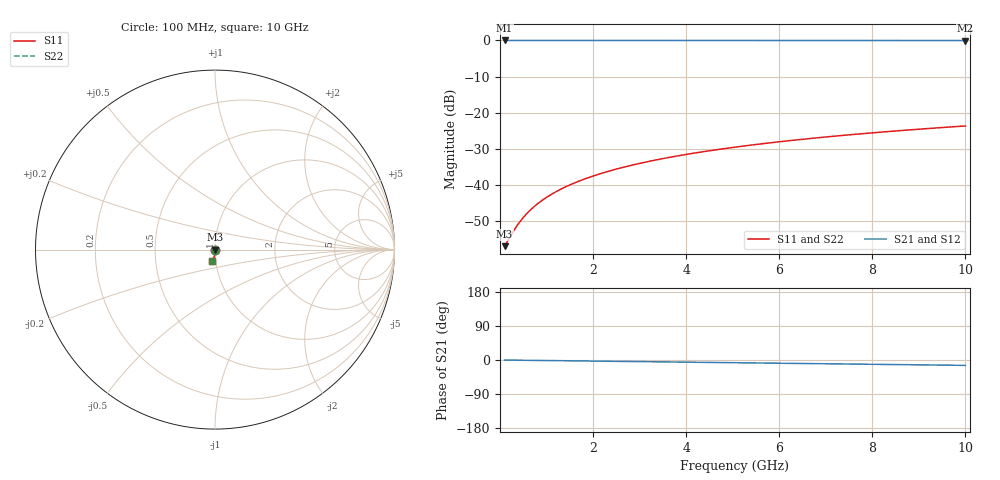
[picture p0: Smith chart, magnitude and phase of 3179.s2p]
# Hz S RI R 50.00
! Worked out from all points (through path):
!   100 points, 100 MHz to 10 GHz, reference 50 ohm
!   highest |S21| = -0.01 dB at 100 MHz (marker M1); lowest = 0.0 dB at 10 GHz (marker M2)
!   group delay of S21, straight-line fit = 3.94 ps
!   lowest |S11| = -57.0 dB at 100 MHz (marker M3), VSWR 1.00, Z = 50.1 - j0.0665 ohm
!   |S11| at or under -10 dB: start of sweep to end of sweep
!   |S22| runs from -57.0 to -23.7 dB; largest |S21 - S12| = 0
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1e8  0.00126 -0.000663  0.9987 -0.00247  0.9987 -0.00247  0.00126 -0.000663
3e8  0.00125 -0.00199  0.9987 -0.00742  0.9987 -0.00742  0.00125 -0.00199
4e8  0.00125 -0.00265  0.9987 -0.00989  0.9987 -0.00989  0.00125 -0.00265
5e8  0.00123 -0.00332  0.9986 -0.0124  0.9986 -0.0124  0.00123 -0.00332
6e8  0.00122 -0.00398  0.9986 -0.0148  0.9986 -0.0148  0.00122 -0.00398
7e8  0.0012 -0.00464  0.9985 -0.0173  0.9985 -0.0173  0.0012 -0.00464
8e8  0.00118 -0.00531  0.9985 -0.0198  0.9985 -0.0198  0.00118 -0.00531
9e8  0.00115 -0.00597  0.9984 -0.0223  0.9984 -0.0223  0.00115 -0.00597
1e9  0.00112 -0.00663  0.9984 -0.0247  0.9984 -0.0247  0.00112 -0.00663
1.2e9  0.00105 -0.00796  0.9982 -0.0297  0.9982 -0.0297  0.00105 -0.00796
1.5e9  0.000921 -0.00994  0.9979 -0.0371  0.9979 -0.0371  0.000921 -0.00994
1.8e9  0.000761 -0.0119  0.9976 -0.0445  0.9976 -0.0445  0.000761 -0.0119
2.1e9  0.000571 -0.0139  0.9972 -0.0519  0.9972 -0.0519  0.000571 -0.0139
2.5e9  0.000271 -0.0166  0.9966 -0.0618  0.9966 -0.0618  0.000271 -0.0166
2.9e9  -8.07e-05 -0.0192  0.9959 -0.0716  0.9959 -0.0716  -8.07e-05 -0.0192
3.4e9  -0.000594 -0.0225  0.9948 -0.084  0.9948 -0.084  -0.000594 -0.0225
4.2e9  -0.00158 -0.0277  0.9928 -0.1036  0.9928 -0.1036  -0.00158 -0.0277
5.1e9  -0.00295 -0.0335  0.99 -0.1257  0.99 -0.1257  -0.00295 -0.0335
5.9e9  -0.00437 -0.0386  0.9871 -0.1453  0.9871 -0.1453  -0.00437 -0.0386
6.7e9  -0.006 -0.0437  0.9838 -0.1648  0.9838 -0.1648  -0.006 -0.0437
8.4e9  -0.0101 -0.0542  0.9754 -0.2059  0.9754 -0.2059  -0.0101 -0.0542
1e10  -0.0148 -0.0638  0.9658 -0.2442  0.9658 -0.2442  -0.0148 -0.0638
